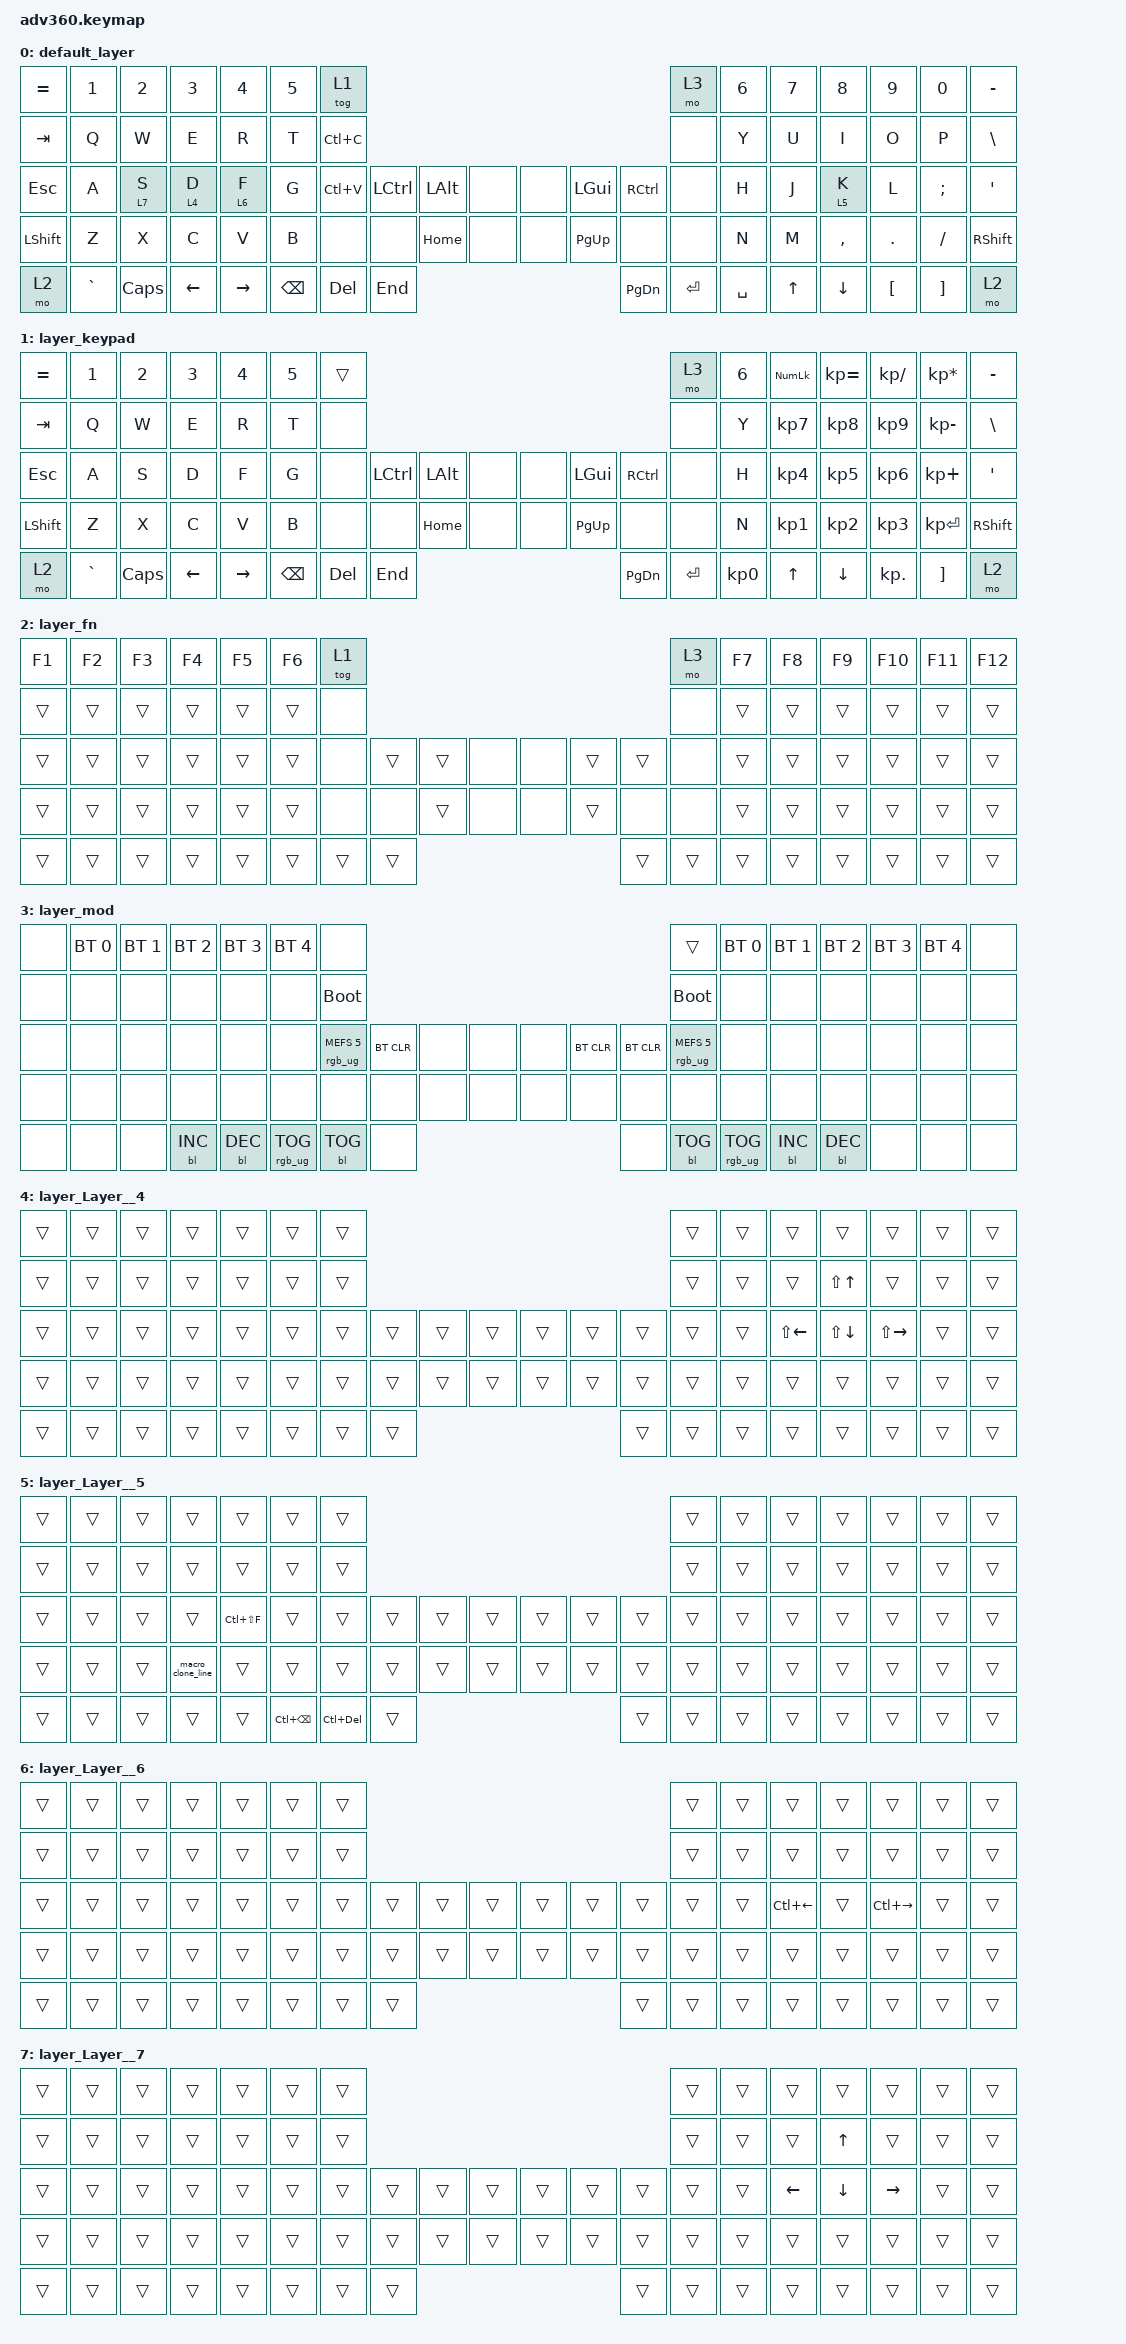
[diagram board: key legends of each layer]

/*
 * Copyright (c) 2020 The ZMK Contributors
 *
 * SPDX-License-Identifier: MIT
 */


/* THIS FILE WAS GENERATED!
 *
 * This file was generated automatically. You may or may not want to
 * edit it directly.
 */

#include <behaviors.dtsi>
#include <dt-bindings/zmk/keys.h>
#include <dt-bindings/zmk/bt.h>
#include <dt-bindings/zmk/rgb.h>
#include <dt-bindings/zmk/backlight.h>

/ {
  behaviors {
    #include "macros.dtsi"

    hm: homerow_mods {
        compatible = "zmk,behavior-hold-tap";
        label = "HOMEROW_MODS";
        #binding-cells = <2>;
        tapping-term-ms = <200>;
        quick_tap_ms = <175>;
        flavor = "tap-preferred";
        bindings = <&kp>, <&kp>;
    };
  };

    keymap {
        compatible = "zmk,keymap";


        default_layer {
            bindings = <
 &kp EQUAL     &kp N1    &kp N2    &kp N3     &kp N4  &kp N5               &tog 1                                                                 &mo 3  &kp N6  &kp N7     &kp N8    &kp N9    &kp N0  &kp MINUS
   &kp TAB      &kp Q     &kp W     &kp E      &kp R   &kp T            &kp LC(C)                                                                 &none   &kp Y   &kp U      &kp I     &kp O     &kp P   &kp BSLH
   &kp ESC      &kp A   &lt 7 S   &lt 4 D    &lt 6 F   &kp G            &kp LC(V)  &kp LCTRL  &kp LALT   &none   &none   &kp LGUI  &kp RCTRL      &none   &kp H   &kp J    &lt 5 K     &kp L  &kp SEMI    &kp SQT
 &kp LSHFT      &kp Z     &kp X     &kp C      &kp V   &kp B                &none      &none  &kp HOME   &none   &none  &kp PG_UP      &none      &none   &kp N   &kp M  &kp COMMA   &kp DOT  &kp FSLH  &kp RSHFT
     &mo 2  &kp GRAVE  &kp CAPS  &kp LEFT  &kp RIGHT                     &kp BSPC    &kp DEL   &kp END                  &kp PG_DN  &kp ENTER  &kp SPACE          &kp UP   &kp DOWN  &kp LBKT  &kp RBKT      &mo 2
            >;
        };

        layer_keypad {
            bindings = <
 &kp EQUAL     &kp N1    &kp N2    &kp N3     &kp N4  &kp N5              &trans                                                                 &mo 3  &kp N6  &kp KP_NUM  &kp KP_EQUAL  &kp KP_DIVIDE  &kp KP_MULTIPLY  &kp MINUS
   &kp TAB      &kp Q     &kp W     &kp E      &kp R   &kp T               &none                                                                 &none   &kp Y   &kp KP_N7     &kp KP_N8      &kp KP_N9     &kp KP_MINUS   &kp BSLH
   &kp ESC      &kp A     &kp S     &kp D      &kp F   &kp G               &none  &kp LCTRL  &kp LALT   &none   &none   &kp LGUI  &kp RCTRL      &none   &kp H   &kp KP_N4     &kp KP_N5      &kp KP_N6      &kp KP_PLUS    &kp SQT
 &kp LSHFT      &kp Z     &kp X     &kp C      &kp V   &kp B               &none      &none  &kp HOME   &none   &none  &kp PG_UP      &none      &none   &kp N   &kp KP_N1     &kp KP_N2      &kp KP_N3     &kp KP_ENTER  &kp RSHFT
     &mo 2  &kp GRAVE  &kp CAPS  &kp LEFT  &kp RIGHT                    &kp BSPC    &kp DEL   &kp END                  &kp PG_DN  &kp ENTER  &kp KP_N0              &kp UP      &kp DOWN     &kp KP_DOT         &kp RBKT      &mo 2
            >;
        };

        layer_fn {
            bindings = <
 &kp F1  &kp F2  &kp F3  &kp F4  &kp F5  &kp F6            &tog 1                                                   &mo 3  &kp F7  &kp F8  &kp F9  &kp F10  &kp F11  &kp F12
 &trans  &trans  &trans  &trans  &trans  &trans             &none                                                   &none  &trans  &trans  &trans   &trans   &trans   &trans
 &trans  &trans  &trans  &trans  &trans  &trans             &none  &trans  &trans   &none   &none  &trans  &trans   &none  &trans  &trans  &trans   &trans   &trans   &trans
 &trans  &trans  &trans  &trans  &trans  &trans             &none   &none  &trans   &none   &none  &trans   &none   &none  &trans  &trans  &trans   &trans   &trans   &trans
 &trans  &trans  &trans  &trans  &trans                    &trans  &trans  &trans                  &trans  &trans  &trans          &trans  &trans   &trans   &trans   &trans
            >;
        };

        layer_mod {
            bindings = <
  &none  &bt BT_SEL 0  &bt BT_SEL 1  &bt BT_SEL 2  &bt BT_SEL 3  &bt BT_SEL 4                             &none                                                                              &trans  &bt BT_SEL 0  &bt BT_SEL 1  &bt BT_SEL 2  &bt BT_SEL 3  &bt BT_SEL 4   &none
  &none         &none         &none         &none         &none         &none                       &bootloader                                                                         &bootloader         &none         &none         &none         &none         &none   &none
  &none         &none         &none         &none         &none         &none            &rgb_ug RGB_MEFS_CMD 5  &bt BT_CLR   &none   &none   &none  &bt BT_CLR  &bt BT_CLR  &rgb_ug RGB_MEFS_CMD 5         &none         &none         &none         &none         &none   &none
  &none         &none         &none         &none         &none         &none                             &none       &none   &none   &none   &none       &none       &none                   &none         &none         &none         &none         &none         &none   &none
  &none         &none         &none    &bl BL_INC    &bl BL_DEC                                 &rgb_ug RGB_TOG  &bl BL_TOG   &none                       &none  &bl BL_TOG         &rgb_ug RGB_TOG                  &bl BL_INC    &bl BL_DEC         &none         &none   &none
            >;
        };

        layer_Layer__4 {
            bindings = <
 &trans  &trans  &trans  &trans  &trans  &trans            &trans                                                  &trans  &trans        &trans        &trans         &trans  &trans  &trans
 &trans  &trans  &trans  &trans  &trans  &trans            &trans                                                  &trans  &trans        &trans    &kp LS(UP)         &trans  &trans  &trans
 &trans  &trans  &trans  &trans  &trans  &trans            &trans  &trans  &trans  &trans  &trans  &trans  &trans  &trans  &trans  &kp LS(LEFT)  &kp LS(DOWN)  &kp LS(RIGHT)  &trans  &trans
 &trans  &trans  &trans  &trans  &trans  &trans            &trans  &trans  &trans  &trans  &trans  &trans  &trans  &trans  &trans        &trans        &trans         &trans  &trans  &trans
 &trans  &trans  &trans  &trans  &trans                    &trans  &trans  &trans                  &trans  &trans  &trans                &trans        &trans         &trans  &trans  &trans
            >;
        };

        layer_Layer__5 {
            bindings = <
 &trans  &trans  &trans             &trans         &trans  &trans                       &trans                                                          &trans  &trans  &trans  &trans  &trans  &trans  &trans
 &trans  &trans  &trans             &trans         &trans  &trans                       &trans                                                          &trans  &trans  &trans  &trans  &trans  &trans  &trans
 &trans  &trans  &trans             &trans  &kp LC(LS(F))  &trans                       &trans          &trans  &trans  &trans  &trans  &trans  &trans  &trans  &trans  &trans  &trans  &trans  &trans  &trans
 &trans  &trans  &trans  &macro_clone_line         &trans  &trans                       &trans          &trans  &trans  &trans  &trans  &trans  &trans  &trans  &trans  &trans  &trans  &trans  &trans  &trans
 &trans  &trans  &trans             &trans         &trans                    &kp LC(BACKSPACE)  &kp LC(DELETE)  &trans                  &trans  &trans  &trans          &trans  &trans  &trans  &trans  &trans
            >;
        };

        layer_Layer__6 {
            bindings = <
 &trans  &trans  &trans  &trans  &trans  &trans            &trans                                                  &trans  &trans        &trans  &trans         &trans  &trans  &trans
 &trans  &trans  &trans  &trans  &trans  &trans            &trans                                                  &trans  &trans        &trans  &trans         &trans  &trans  &trans
 &trans  &trans  &trans  &trans  &trans  &trans            &trans  &trans  &trans  &trans  &trans  &trans  &trans  &trans  &trans  &kp LC(LEFT)  &trans  &kp LC(RIGHT)  &trans  &trans
 &trans  &trans  &trans  &trans  &trans  &trans            &trans  &trans  &trans  &trans  &trans  &trans  &trans  &trans  &trans        &trans  &trans         &trans  &trans  &trans
 &trans  &trans  &trans  &trans  &trans                    &trans  &trans  &trans                  &trans  &trans  &trans                &trans  &trans         &trans  &trans  &trans
            >;
        };

        layer_Layer__7 {
            bindings = <
 &trans  &trans  &trans  &trans  &trans  &trans            &trans                                                  &trans  &trans    &trans    &trans     &trans  &trans  &trans
 &trans  &trans  &trans  &trans  &trans  &trans            &trans                                                  &trans  &trans    &trans    &kp UP     &trans  &trans  &trans
 &trans  &trans  &trans  &trans  &trans  &trans            &trans  &trans  &trans  &trans  &trans  &trans  &trans  &trans  &trans  &kp LEFT  &kp DOWN  &kp RIGHT  &trans  &trans
 &trans  &trans  &trans  &trans  &trans  &trans            &trans  &trans  &trans  &trans  &trans  &trans  &trans  &trans  &trans    &trans    &trans     &trans  &trans  &trans
 &trans  &trans  &trans  &trans  &trans                    &trans  &trans  &trans                  &trans  &trans  &trans            &trans    &trans     &trans  &trans  &trans
            >;
        };

    };
};
